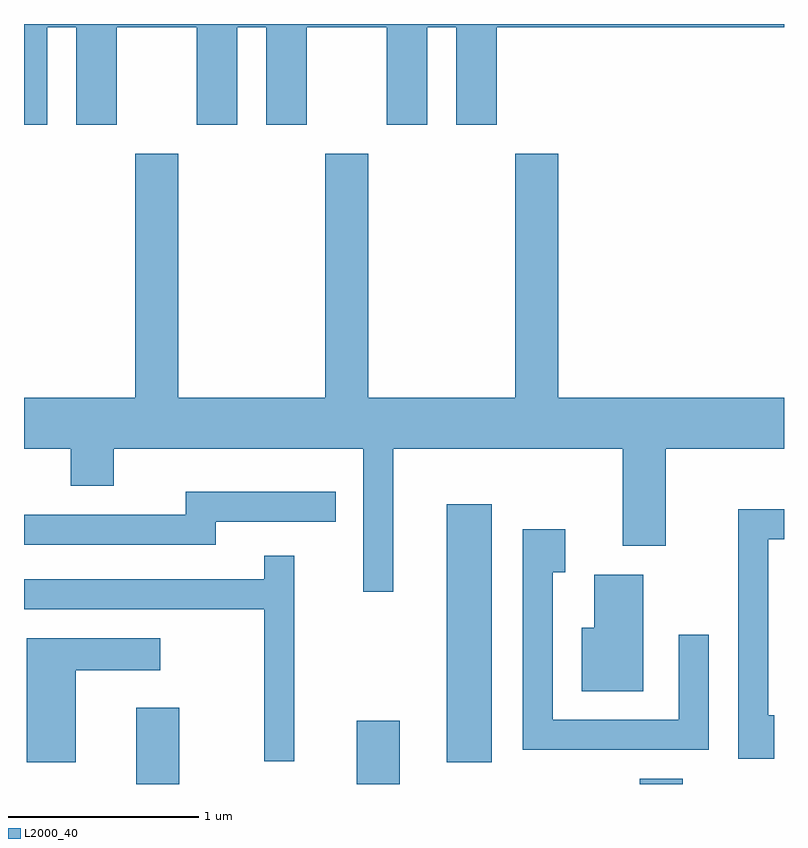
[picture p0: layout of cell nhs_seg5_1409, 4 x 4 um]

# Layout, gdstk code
import gdstk
lib = gdstk.Library(unit=1e-6, precision=1e-09)
def R(c, l, rs):  # rectangles x0, y0, x1, y1
    for r in rs: c.add(gdstk.rectangle(r[:2], r[2:], *l))
def P(c, l, *ps):  # polygons
    for p in ps: c.add(gdstk.Polygon(p, *l))
L2000_40 = (2000, 40)

nhs_seg5_1409 = lib.new_cell('nhs_seg5_1409')
R(nhs_seg5_1409, L2000_40, [(226.201,1526.072,226.429,1526.474), (227.361,1526.072,227.589,1526.404), (228.851,1526.072,229.079,1526.099), (227.836,1526.186,228.074,1527.544)])
P(nhs_seg5_1409, L2000_40, [(225.734,1530.056),(225.886,1530.056),(225.886,1529.541),(226.099,1529.541),(226.099,1530.056),(226.521,1530.056),(226.521,1529.541),(226.734,1529.541),(226.734,1530.056),(226.886,1530.056),(226.886,1529.541),(227.099,1529.541),(227.099,1530.056),(227.521,1530.056),(227.521,1529.541),(227.734,1529.541),(227.734,1530.056),(227.886,1530.056),(227.886,1529.541),(228.099,1529.541),(228.099,1530.056),(229.611,1530.056),(229.611,1530.072),(225.611,1530.072),(225.611,1529.541),(225.734,1529.541)],
  [(227.554,1527.836),(228.761,1527.836),(228.761,1527.326),(228.989,1527.326),(228.989,1527.836),(229.611,1527.836),(229.611,1528.104),(228.424,1528.104),(228.424,1529.389),(228.196,1529.389),(228.196,1528.104),(227.424,1528.104),(227.424,1529.389),(227.196,1529.389),(227.196,1528.104),(226.424,1528.104),(226.424,1529.389),(226.196,1529.389),(226.196,1528.104),(225.611,1528.104),(225.611,1527.836),(225.856,1527.836),(225.856,1527.641),(226.084,1527.641),(226.084,1527.836),(227.396,1527.836),(227.396,1527.083),(227.554,1527.083)],
  [(226.619,1527.451),(227.253,1527.451),(227.253,1527.609),(226.461,1527.609),(226.461,1527.489),(225.611,1527.489),(225.611,1527.331),(226.619,1527.331)],
  [(229.559,1526.434),(229.529,1526.434),(229.529,1527.361),(229.611,1527.361),(229.611,1527.519),(229.371,1527.519),(229.371,1526.206),(229.559,1526.206)],
  [(229.214,1526.858),(229.056,1526.858),(229.056,1526.409),(228.394,1526.409),(228.394,1527.186),(228.459,1527.186),(228.459,1527.414),(228.236,1527.414),(228.236,1526.251),(229.214,1526.251)],
  [(227.034,1527.273),(226.876,1527.273),(226.876,1527.149),(225.611,1527.149),(225.611,1526.991),(226.876,1526.991),(226.876,1526.193),(227.034,1526.193)],
  [(228.869,1527.174),(228.611,1527.174),(228.611,1526.894),(228.546,1526.894),(228.546,1526.561),(228.869,1526.561)],
  [(225.884,1526.671),(226.328,1526.671),(226.328,1526.839),(225.626,1526.839),(225.626,1526.186),(225.884,1526.186)])

lib.write_gds('nhs_seg5_1409.gds')
